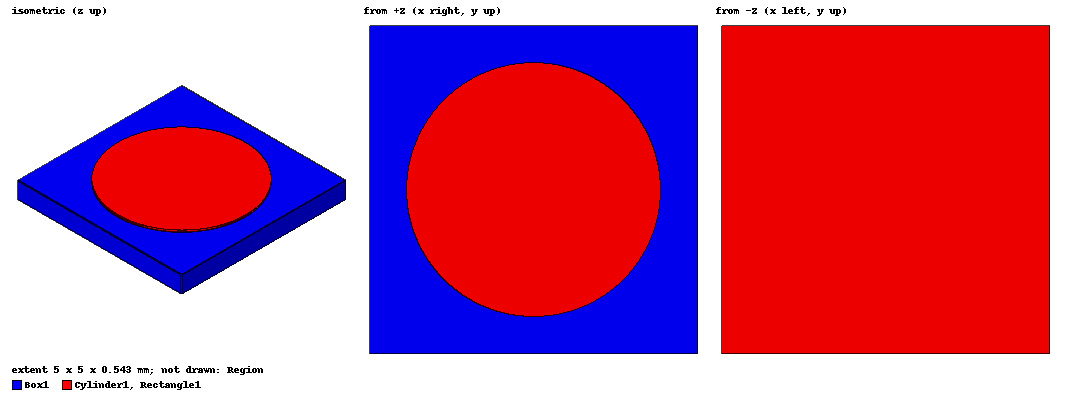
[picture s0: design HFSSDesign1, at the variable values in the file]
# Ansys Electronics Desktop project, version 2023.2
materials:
  vacuum: permittivity=1
  Rogers RT/duroid 5880 (tm): permittivity=2.2 dielectric_loss_tangent=0.0009
  pec: conductivity=1e+30
  copper: permeability=0.999991 conductivity=58000000

design HFSSDesign1 (HFSS, HFSS Modal Network, model units mm)
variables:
  Xsize = 5mm
  Ysize = 5mm
  H = 0.508mm
  margin = 1mm
  radius = 0.365mm
  parameters = [1.9345755349917, 0.035, 0.508, 5, 0.98] mm
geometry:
  Rectangle1 = rectangle(corner=(0mm, 0mm, 0mm), x_size=parameters[3], y_size=parameters[3])
  Box1 [Rogers RT/duroid 5880 (tm)] = box(corner=(0mm, 0mm, 0mm), size=(parameters[3], parameters[3], parameters[2]))
  Cylinder1 [copper] = cylinder(axis=Z, base_centre=(parameters[3]/2, parameters[3]/2, H), radius=parameters[0], height=parameters[1])
  Region [vacuum] = region(absolute_offset: +X=0mm, -X=0mm, +Y=0mm, -Y=0mm, +Z=10mm, -Z=10mm)
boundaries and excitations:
  PerfE1: Perfect E Objects=Rectangle1
  Primary1: Primary Faces=Region.face(+x) CoordSysVector{(5, 0, 10.543) -> (5, 5, 10.543)}
  Primary2: Primary Faces=Region.face(+y) CoordSysVector{(5, 5, 10.543) -> (0, 5, 10.543)}
  Secondary1: Secondary Faces=Region.face(-y) CoordSysVector{(5, 0, 10.543) -> (0, 0, 10.543)} ReverseV primary=Primary2 PhaseDelay=UseScanAngle Phi=0deg Theta=0deg
  Secondary2: Secondary Faces=Region.face(-x) CoordSysVector{(0, 0, 10.543) -> (0, 5, 10.543)} ReverseV primary=Primary1 PhaseDelay=UseScanAngle Phi=0deg Theta=0deg
  FloquetPort1: Floquet Port Faces=Region.face(+z) NumModes=2 DeembedDist=10mm Modes{Mode1{CharImp=Zpi} Mode2{CharImp=Zpi}} PhaseDelay=UseScanAngle Phi=0deg Theta=0deg LatticeAVector{(5, 0, 10.543) -> (5, 5, 10.543)} LatticeBVector{(5, 0, 10.543) -> (0, 0, 10.543)} ModesList{Mode{ModeNumber=1 IndexM=0 IndexN=0 KC2=0 PropagationState=Propagating Attenuation=0 PolarizationState=TE AffectsRefinement} Mode{ModeNumber=2 IndexM=0 IndexN=0 KC2=0 PropagationState=Propagating Attenuation=0 PolarizationState=TM AffectsRefinement}}
  FloquetPort2: Floquet Port Faces=Region.face(-z) NumModes=2 DeembedDist=10mm Modes{Mode1{CharImp=Zpi} Mode2{CharImp=Zpi}} PhaseDelay=UseScanAngle Phi=0deg Theta=0deg LatticeAVector{(5, 0, -10) -> (5, 5, -10)} LatticeBVector{(5, 0, -10) -> (0, 0, -10)} ModesList{Mode{ModeNumber=1 IndexM=0 IndexN=0 KC2=0 PropagationState=Propagating Attenuation=0 PolarizationState=TE AffectsRefinement} Mode{ModeNumber=2 IndexM=0 IndexN=0 KC2=0 PropagationState=Propagating Attenuation=0 PolarizationState=TM AffectsRefinement}}
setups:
  Setup2: HfssDriven Frequency=76.5GHz MaxDeltaS=0.02 MaximumPasses=5 MinimumPasses=1 MinimumConvergedPasses=1 PercentRefinement=30 BasisOrder=1 PortAccuracy=2 DrivenSolverType="Direct Solver"
    sweep Sweep: 75GHz to 78GHz step 0.03GHz; Type=Interpolating InterpTolerance=0.5 InterpMaxSolns=250 InterpUsePortImped=false PassivityErrorTolerance=0.0001
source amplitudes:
  FloquetPort1:1: 1W 0deg
  FloquetPort1:2, FloquetPort2:1, FloquetPort2:2: 0W 0deg
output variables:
  AbsorbanceTM = 1-((mag(S(FloquetPort1:2,FloquetPort1:2)))^2 +(mag(S(FloquetPort2:2,FloquetPort1:2)))^2)
  Reflectance = (mag(S(FloquetPort1:1,FloquetPort1:1)))^2
